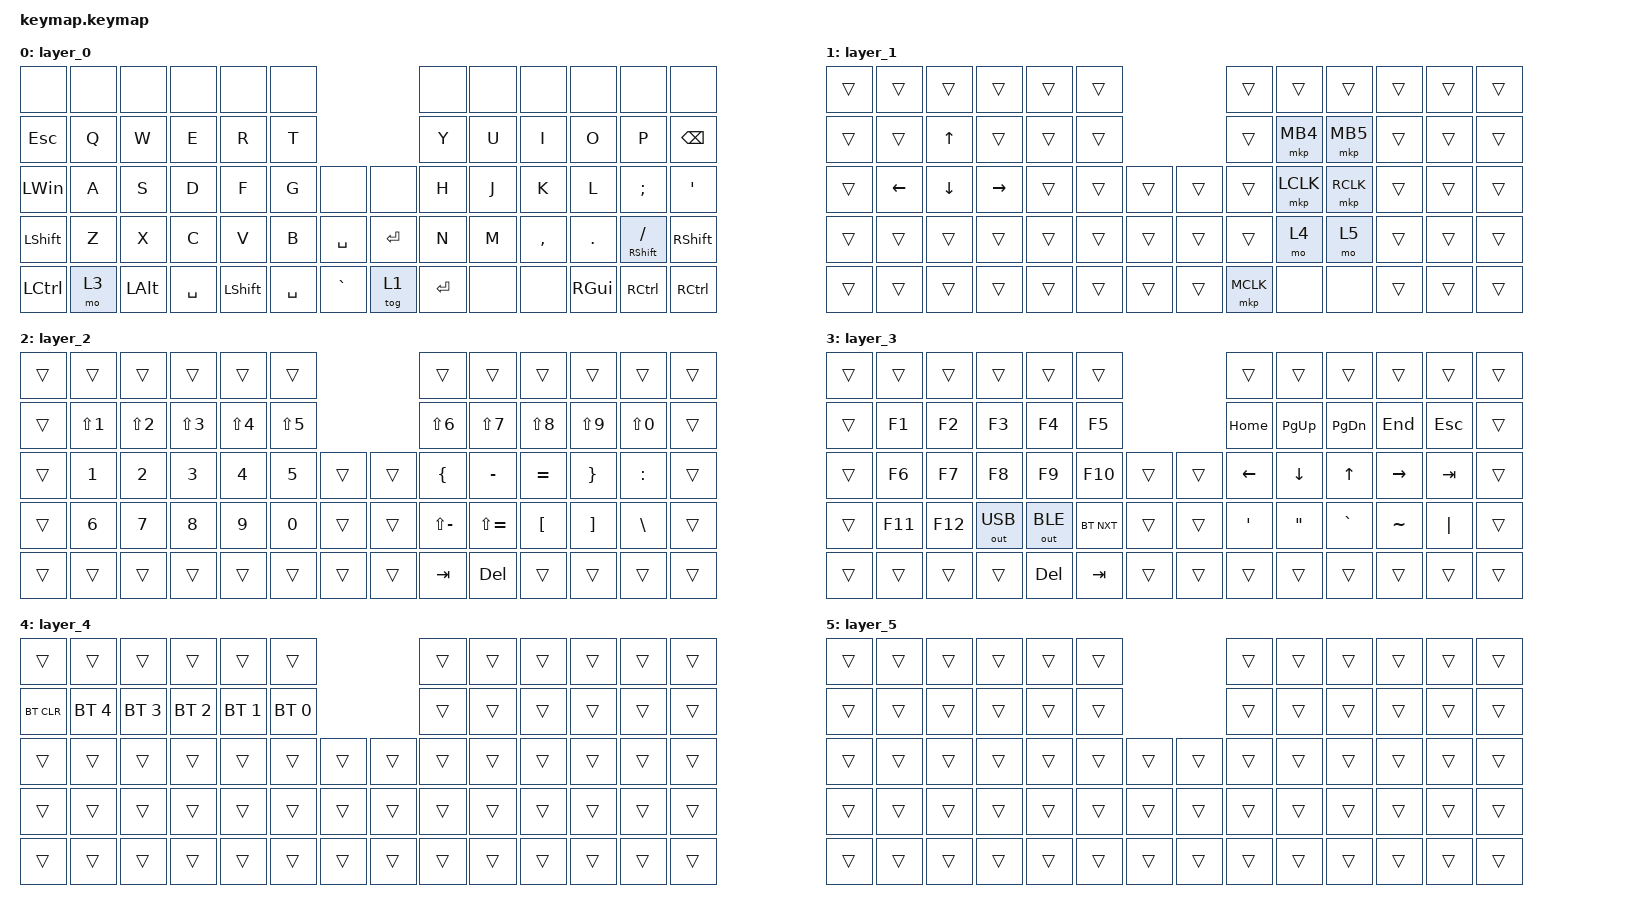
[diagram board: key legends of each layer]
#include <behaviors.dtsi>
#include <dt-bindings/zmk/bt.h>
#include <dt-bindings/zmk/keys.h>
#include <dt-bindings/zmk/outputs.h>
#include <dt-bindings/zmk/pointing.h>

/ {
    combos {
        compatible = "zmk,combos";

        bt_clear {
            bindings = <&bt BT_CLR>;
            key-positions = <28 29>;
            layers = <2>;
        };
    };

    keymap {
        compatible = "zmk,keymap";

        layer_0 {
            bindings = <
&none         &none  &none         &none      &none           &none                          &none      &none  &none      &none     &none                 &none
&kp ESCAPE    &kp Q  &kp W         &kp E      &kp R           &kp T                          &kp Y      &kp U  &kp I      &kp O     &kp P                 &kp BSPC
&kp LEFT_WIN  &kp A  &kp S         &kp D      &kp F           &kp G      &none      &none    &kp H      &kp J  &kp K      &kp L     &kp SEMI              &kp SQT
&kp LSHFT     &kp Z  &kp X         &kp C      &kp V           &kp B      &kp SPACE  &kp RET  &kp N      &kp M  &kp COMMA  &kp DOT   &mt RIGHT_SHIFT FSLH  &kp RSHFT
&kp LCTRL     &mo 3  &kp LEFT_ALT  &kp SPACE  &kp LEFT_SHIFT  &kp SPACE  &kp GRAVE  &tog 1   &kp ENTER  &none  &none      &kp RGUI  &kp RCTRL             &kp RCTRL
            >;
        };

        layer_1 {
            bindings = <
&trans  &trans          &trans          &trans           &trans  &trans                  &trans     &trans     &trans     &trans  &trans  &trans
&trans  &trans          &kp UP_ARROW    &trans           &trans  &trans                  &trans     &mkp MB4   &mkp MB5   &trans  &trans  &trans
&trans  &kp LEFT_ARROW  &kp DOWN_ARROW  &kp RIGHT_ARROW  &trans  &trans  &trans  &trans  &trans     &mkp LCLK  &mkp RCLK  &trans  &trans  &trans
&trans  &trans          &trans          &trans           &trans  &trans  &trans  &trans  &trans     &mo 4      &mo 5      &trans  &trans  &trans
&trans  &trans          &trans          &trans           &trans  &trans  &trans  &trans  &mkp MCLK  &none      &none      &trans  &trans  &trans
            >;
        };

        layer_2 {
            bindings = <
&trans  &trans            &trans            &trans      &trans      &trans                      &trans          &trans         &trans            &trans             &trans         &trans
&trans  &kp LS(NUMBER_1)  &kp LS(NUMBER_2)  &kp LS(N3)  &kp LS(N4)  &kp LS(N5)                  &kp LS(N6)      &kp LS(N7)     &kp LS(N8)        &kp LS(N9)         &kp LS(N0)     &trans
&trans  &kp N1            &kp N2            &kp N3      &kp N4      &kp N5      &trans  &trans  &kp LEFT_BRACE  &kp MINUS      &kp EQUAL         &kp RIGHT_BRACE    &kp COLON      &trans
&trans  &kp N6            &kp N7            &kp N8      &kp N9      &kp N0      &trans  &trans  &kp LS(MINUS)   &kp LS(EQUAL)  &kp LEFT_BRACKET  &kp RIGHT_BRACKET  &kp BACKSLASH  &trans
&trans  &trans            &trans            &trans      &trans      &trans      &trans  &trans  &kp TAB         &kp DEL        &trans            &trans             &trans         &trans
            >;
        };

        layer_3 {
            bindings = <
&trans  &trans   &trans   &trans        &trans        &trans                      &trans            &trans     &trans         &trans     &trans      &trans
&trans  &kp F1   &kp F2   &kp F3        &kp F4        &kp F5                      &kp HOME          &kp PG_UP  &kp PAGE_DOWN  &kp END    &kp ESCAPE  &trans
&trans  &kp F6   &kp F7   &kp F8        &kp F9        &kp F10     &trans  &trans  &kp LEFT          &kp DOWN   &kp UP_ARROW   &kp RIGHT  &kp TAB     &trans
&trans  &kp F11  &kp F12  &out OUT_USB  &out OUT_BLE  &bt BT_NXT  &trans  &trans  &kp SINGLE_QUOTE  &kp DQT    &kp GRAVE      &kp TILDE  &kp PIPE    &trans
&trans  &trans   &trans   &trans        &kp DELETE    &kp TAB     &trans  &trans  &trans            &trans     &trans         &trans     &trans      &trans
            >;
        };

        layer_4 {
            bindings = <
&trans      &trans        &trans        &trans        &trans        &trans                        &trans  &trans  &trans  &trans  &trans  &trans
&bt BT_CLR  &bt BT_SEL 4  &bt BT_SEL 3  &bt BT_SEL 2  &bt BT_SEL 1  &bt BT_SEL 0                  &trans  &trans  &trans  &trans  &trans  &trans
&trans      &trans        &trans        &trans        &trans        &trans        &trans  &trans  &trans  &trans  &trans  &trans  &trans  &trans
&trans      &trans        &trans        &trans        &trans        &trans        &trans  &trans  &trans  &trans  &trans  &trans  &trans  &trans
&trans      &trans        &trans        &trans        &trans        &trans        &trans  &trans  &trans  &trans  &trans  &trans  &trans  &trans
            >;
        };

        layer_5 {
            bindings = <
&trans  &trans  &trans  &trans  &trans  &trans                  &trans  &trans  &trans  &trans  &trans  &trans
&trans  &trans  &trans  &trans  &trans  &trans                  &trans  &trans  &trans  &trans  &trans  &trans
&trans  &trans  &trans  &trans  &trans  &trans  &trans  &trans  &trans  &trans  &trans  &trans  &trans  &trans
&trans  &trans  &trans  &trans  &trans  &trans  &trans  &trans  &trans  &trans  &trans  &trans  &trans  &trans
&trans  &trans  &trans  &trans  &trans  &trans  &trans  &trans  &trans  &trans  &trans  &trans  &trans  &trans
            >;
        };
    };
};
